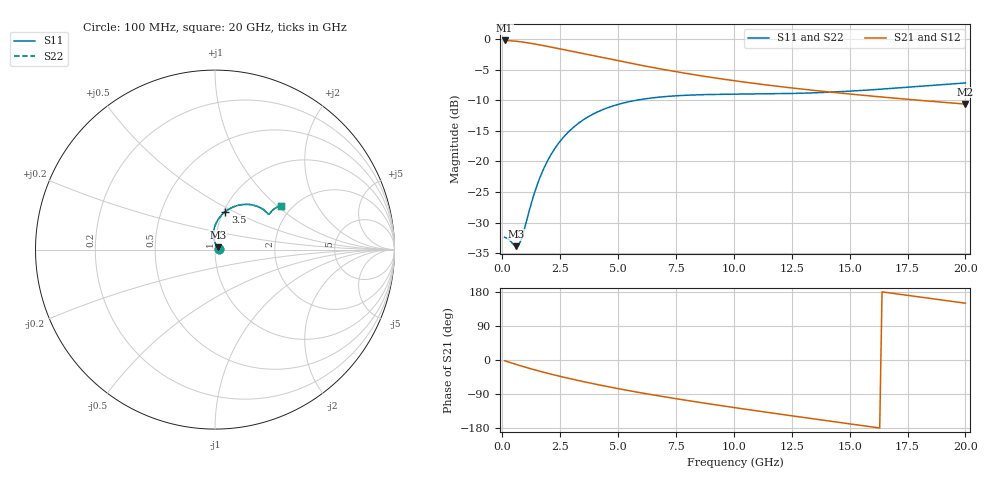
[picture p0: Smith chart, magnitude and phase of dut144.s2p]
! Touchstone file exported from HFSS 2024.1.0
!  File:  C:/UserFiles/LocalFiles/RDL_TSV_Batchsim/temp_RDL_TSV_144_1779430373.aedt
!  Generated:  02:27:17 PM May 22, 2026
!  Design:  RDL_TSV
!  Project:  temp_RDL_TSV_144_1779430373
!  Setup:  Setup1
!  Solution:  Sweep
! Variables:
!  dtsv = 13.99um
!  hbump = 3um
!  htsv = 79.91um
!  ldown = 139.42um
!  lrdl = 553.42um
!  p = 40
!  p1 = 50.33um
!  rhole = 10um
!  subl = 2631.94um
!  t = 450um
!  tdown = 3.58um
!  trdl = 3.75um
!  viad = 10um
!  wdown = 10.5um
!  wrdl = 10.06um
!  xbump = 18um
# GHz S MA R 50.000000
! Terminal data exported
! Port[1] = TM1_1_T1
! Port[2] = TM1_4_T1
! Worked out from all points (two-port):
!   200 points, 100 MHz to 20 GHz, reference 50 ohm
!   highest |S21| = -0.22 dB at 100 MHz (marker M1); lowest = -10.6 dB at 20 GHz (marker M2)
!   |S21| within 3 dB of the highest: start of sweep to 4.585 GHz
!   lowest |S11| = -33.8 dB at 600 MHz (marker M3), VSWR 1.04, Z = 51.6 + j1.31 ohm
!   |S11| at or under -10 dB: start of sweep to 5.778 GHz
!   |S22| runs from -33.8 to -7.2 dB; largest |S21 - S12| = 3e-14
!   S11 on the Smith chart (normalised r, x): 100 MHz: 1.05, +0.00; 3.5 GHz: 1.02, +0.45; 20 GHz: 1.75, +1.05
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0.1  0.02402 4.3  0.9753 -2.0  0.9753 -2.0  0.02402 4.3
! Gamma 0 0 0 0
! Port Impedance 50 0 50 0
0.6  0.02032 38.5  0.9608 -11.7  0.9608 -11.7  0.02032 38.6
0.7  0.02074 50.8  0.9561 -13.6  0.9561 -13.6  0.02074 50.9
0.8  0.0225 63.2  0.9509 -15.5  0.9509 -15.5  0.0225 63.3
0.9  0.02568 73.9  0.9453 -17.3  0.9453 -17.3  0.02569 73.9
1.3  0.04878 94.1  0.9196 -24.4  0.9196 -24.4  0.04882 94.2
1.5  0.06383 96.2  0.9056 -27.7  0.9056 -27.7  0.0639 96.2
1.7  0.07997 96.1  0.8911 -31.0  0.8911 -31.0  0.08005 96.1
2  0.1051 93.8  0.8689 -35.7  0.8689 -35.7  0.1052 93.8
2.3  0.1302 90.3  0.8466 -40.3  0.8466 -40.3  0.1303 90.4
2.7  0.1624 85.1  0.8173 -46.1  0.8173 -46.1  0.1626 85.2
3.5  0.2191 74.8  0.7609 -57.1  0.7609 -57.1  0.2193 74.8
4.1  0.2535 67.8  0.721 -64.7  0.721 -64.7  0.2538 67.8
4.9  0.289 59.8  0.6715 -74.4  0.6715 -74.4  0.2894 59.8
5.8  0.3168 52.4  0.6213 -84.5  0.6213 -84.5  0.3173 52.4
6.8  0.3361 45.9  0.5724 -95.1  0.5724 -95.1  0.3367 45.9
8.4  0.3505 38.9  0.508 -110.7  0.508 -110.7  0.3512 38.9
10.1  0.355 34.8  0.4549 -126.3  0.4549 -126.3  0.3557 34.8
11.7  0.3574 33.4  0.4157 -140.4  0.4157 -140.4  0.3581 33.3
13.4  0.3638 33.4  0.3822 -155.0  0.3822 -155.0  0.3643 33.3
16.7  0.3942 34.5  0.3324 177.2  0.3324 177.2  0.3945 34.4
20  0.4386 33.6  0.2946 149.9  0.2946 149.9  0.4385 33.5
